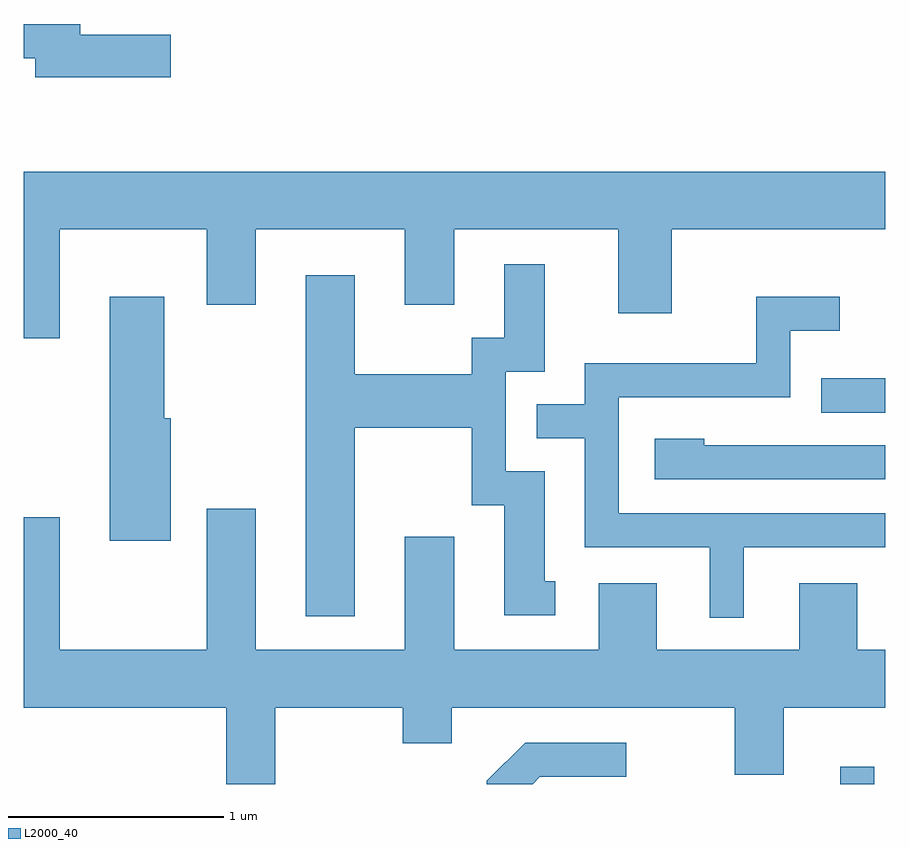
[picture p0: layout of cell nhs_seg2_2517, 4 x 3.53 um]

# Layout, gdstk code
import gdstk
lib = gdstk.Library(unit=1e-6, precision=1e-09)
def R(c, l, rs):  # rectangles x0, y0, x1, y1
    for r in rs: c.add(gdstk.rectangle(r[:2], r[2:], *l))
def P(c, l, *ps):  # polygons
    for p in ps: c.add(gdstk.Polygon(p, *l))
L2000_40 = (2000, 40)

nhs_seg2_2517 = lib.new_cell('nhs_seg2_2517')
R(nhs_seg2_2517, L2000_40, [(263.401,985.802,263.559,985.883), (263.313,987.526,263.611,987.684)])
P(nhs_seg2_2517, L2000_40, [(260.294,989.279),(259.874,989.279),(259.874,989.329),(259.611,989.329),(259.611,989.171),(259.666,989.171),(259.666,989.081),(260.294,989.081)],
  [(259.779,988.376),(260.461,988.376),(260.461,988.026),(260.689,988.026),(260.689,988.376),(261.381,988.376),(261.381,988.026),(261.609,988.026),(261.609,988.376),(262.371,988.376),(262.371,987.986),(262.619,987.986),(262.619,988.376),(263.611,988.376),(263.611,988.644),(259.611,988.644),(259.611,987.871),(259.779,987.871)],
  [(261.149,987.456),(261.691,987.456),(261.691,987.096),(261.841,987.096),(261.841,986.586),(262.078,986.586),(262.078,986.744),(262.029,986.744),(262.029,987.254),(261.849,987.254),(261.849,987.716),(262.029,987.716),(262.029,988.214),(261.841,988.214),(261.841,987.874),(261.691,987.874),(261.691,987.704),(261.149,987.704),(261.149,988.164),(260.921,988.164),(260.921,986.581),(261.149,986.581)],
  [(260.294,987.499),(260.264,987.499),(260.264,988.064),(260.011,988.064),(260.011,986.931),(260.294,986.931)],
  [(262.954,986.901),(263.611,986.901),(263.611,987.059),(262.374,987.059),(262.374,987.596),(263.169,987.596),(263.169,987.906),(263.398,987.906),(263.398,988.064),(263.011,988.064),(263.011,987.754),(262.216,987.754),(262.216,987.564),(261.993,987.564),(261.993,987.406),(262.216,987.406),(262.216,986.901),(262.796,986.901),(262.796,986.573),(262.954,986.573)],
  [(263.611,987.374),(262.769,987.374),(262.769,987.404),(262.541,987.404),(262.541,987.216),(263.611,987.216)],
  [(260.779,986.156),(261.371,986.156),(261.371,985.991),(261.599,985.991),(261.599,986.156),(262.911,986.156),(262.911,985.846),(263.139,985.846),(263.139,986.156),(263.611,986.156),(263.611,986.424),(263.479,986.424),(263.479,986.734),(263.211,986.734),(263.211,986.424),(262.549,986.424),(262.549,986.734),(262.281,986.734),(262.281,986.424),(261.609,986.424),(261.609,986.949),(261.381,986.949),(261.381,986.424),(260.689,986.424),(260.689,987.079),(260.461,987.079),(260.461,986.424),(259.779,986.424),(259.779,987.039),(259.611,987.039),(259.611,986.156),(260.551,986.156),(260.551,985.802),(260.779,985.802)],
  [(262.007,985.836),(262.408,985.836),(262.408,985.994),(261.939,985.994),(261.761,985.817),(261.761,985.802),(261.973,985.802)])

lib.write_gds('nhs_seg2_2517.gds')
